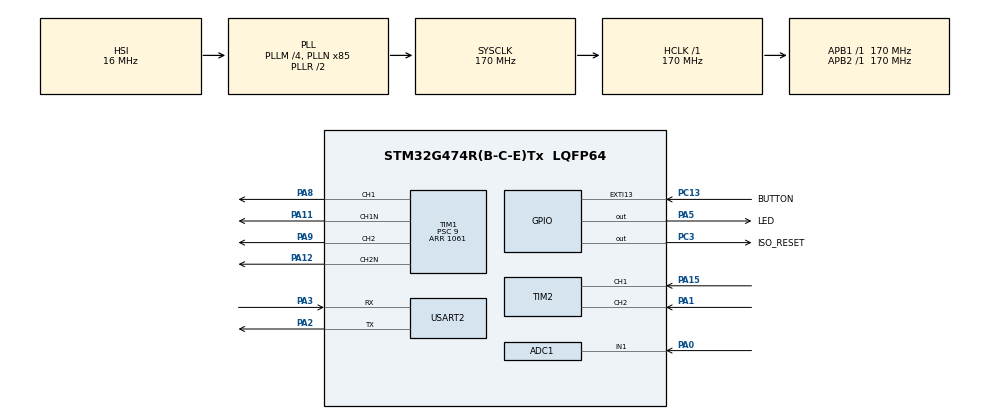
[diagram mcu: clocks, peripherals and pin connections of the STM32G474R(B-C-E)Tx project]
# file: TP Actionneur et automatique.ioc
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ADC1.Channel-0\#ChannelRegularConversion=ADC_CHANNEL_1
ADC1.NbrOfConversionFlag=1
ADC1.OffsetNumber-0\#ChannelRegularConversion=ADC_OFFSET_NONE
ADC1.OversamplingMode=DISABLE
ADC1.Rank-0\#ChannelRegularConversion=1
ADC1.SamplingTime-0\#ChannelRegularConversion=ADC_SAMPLETIME_12CYCLES_5
ADC1.master=1
Mcu.Family=STM32G4
Mcu.Name=STM32G474R(B-C-E)Tx
Mcu.Package=LQFP64
NVIC.ADC1_2_IRQn=true\:0\:0\:false\:false\:true\:true\:true\:true
NVIC.EXTI15_10_IRQn=true\:0\:0\:false\:false\:true\:true\:true\:true
NVIC.PriorityGroup=NVIC_PRIORITYGROUP_4
NVIC.TIM1_UP_TIM16_IRQn=true\:0\:0\:false\:false\:true\:true\:true\:true
NVIC.TIM6_DAC_IRQn=true\:0\:0\:false\:false\:true\:true\:true\:true
NVIC.TIM7_DAC_IRQn=true\:0\:0\:false\:false\:true\:true\:true\:true
NVIC.TIM8_UP_IRQn=true\:0\:0\:false\:false\:true\:true\:true\:true
NVIC.USART2_IRQn=true\:0\:0\:false\:false\:true\:true\:true\:true
PA0.Mode=IN1-Single-Ended
PA0.Signal=ADC1_IN1
PA1.Signal=S_TIM2_CH2
PA11.Mode=PWM Generation1 CH1 CH1N
PA11.Signal=TIM1_CH1N
PA12.Mode=PWM Generation2 CH2 CH2N
PA12.Signal=TIM1_CH2N
PA13.GPIO_Label=T_SWDIO
PA13.Mode=Serial_Wire
PA13.Signal=SYS_JTMS-SWDIO
PA14.GPIO_Label=T_SWCLK
PA14.Mode=Serial_Wire
PA14.Signal=SYS_JTCK-SWCLK
PA15.Signal=S_TIM2_CH1
PA2.Mode=Asynchronous
PA2.Signal=USART2_TX
PA3.Mode=Asynchronous
PA3.Signal=USART2_RX
PA5.GPIO_Label=LED
PA5.Signal=GPIO_Output
PA8.Signal=S_TIM1_CH1
PA9.Signal=S_TIM1_CH2
PB3.GPIO_Label=T_SWO
PB3.Signal=SYS_JTDO-SWO
PC13.GPIO_Label=BUTTON
PC13.Signal=GPXTI13
PC14-OSC32_IN.Mode=LSE-External-Oscillator
PC14-OSC32_IN.Signal=RCC_OSC32_IN
PC15-OSC32_OUT.Mode=LSE-External-Oscillator
PC15-OSC32_OUT.Signal=RCC_OSC32_OUT
PC3.GPIO_Label=ISO_RESET
PC3.Signal=GPIO_Output
PF0-OSC_IN.Mode=HSE-External-Oscillator
PF0-OSC_IN.Signal=RCC_OSC_IN
PF1-OSC_OUT.Mode=HSE-External-Oscillator
PF1-OSC_OUT.Signal=RCC_OSC_OUT
ProjectManager.HeapSize=0x200
ProjectManager.StackSize=0x400
ProjectManager.TargetToolchain=STM32CubeIDE
RCC.ADC12Freq_Value=170000000
RCC.ADC345Freq_Value=170000000
RCC.AHBFreq_Value=170000000
RCC.APB1Freq_Value=170000000
RCC.APB1TimFreq_Value=170000000
RCC.APB2Freq_Value=170000000
RCC.APB2TimFreq_Value=170000000
RCC.CortexFreq_Value=170000000
RCC.EXTERNAL_CLOCK_VALUE=12288000
RCC.HCLKFreq_Value=170000000
RCC.HSE_VALUE=24000000
RCC.HSI48_VALUE=48000000
RCC.HSI_VALUE=16000000
RCC.PLLM=RCC_PLLM_DIV4
RCC.PLLN=85
RCC.RTCClockSelection=RCC_RTCCLKSOURCE_LSE
RCC.SYSCLKFreq_VALUE=170000000
RCC.SYSCLKSource=RCC_SYSCLKSOURCE_PLLCLK
RCC.USBFreq_Value=170000000
RCC.VCOOutputFreq_Value=340000000
SH.S_TIM1_CH1.0=TIM1_CH1,PWM Generation1 CH1 CH1N
SH.S_TIM1_CH2.0=TIM1_CH2,PWM Generation2 CH2 CH2N
SH.S_TIM2_CH1.0=TIM2_CH1,Encoder_Interface
SH.S_TIM2_CH2.0=TIM2_CH2,Encoder_Interface
TIM1.AutoReloadPreload=TIM_AUTORELOAD_PRELOAD_ENABLE
TIM1.Channel-PWM\ Generation1\ CH1\ CH1N=TIM_CHANNEL_1
TIM1.Channel-PWM\ Generation2\ CH2\ CH2N=TIM_CHANNEL_2
TIM1.CounterMode=TIM_COUNTERMODE_CENTERALIGNED1
TIM1.DeadTime=203
TIM1.OCIdleState_2=TIM_OCIDLESTATE_SET
TIM1.OCMode_PWM-PWM\ Generation1\ CH1\ CH1N=TIM_OCMODE_PWM1
TIM1.OCMode_PWM-PWM\ Generation2\ CH2\ CH2N=TIM_OCMODE_PWM1
TIM1.OCNIdleState_1=TIM_OCNIDLESTATE_SET
TIM1.OCNIdleState_2=TIM_OCNIDLESTATE_RESET
TIM1.OCNPolarity_2=TIM_OCNPOLARITY_HIGH
TIM1.OCPolarity_2=TIM_OCPOLARITY_HIGH
TIM1.PeriodNoDither=1061
TIM1.Prescaler=9
TIM1.PulseNoDither_1=637
TIM1.PulseNoDither_2=637
TIM2.AutoReloadPreload=TIM_AUTORELOAD_PRELOAD_ENABLE
TIM6.PeriodNoDither=1000-1
TIM6.Prescaler=1700-1
TIM7.AutoReloadPreload=TIM_AUTORELOAD_PRELOAD_ENABLE
TIM7.PeriodNoDither=24
TIM7.Prescaler=16
TIM8.PeriodNoDither=10000-1
TIM8.Prescaler=1700-1
USART2.VirtualMode-Asynchronous=VM_ASYNC
VP_SYS_VS_DBSignals.Mode=DisableDeadBatterySignals
VP_TIM1_VS_ClockSourceINT.Mode=Internal
VP_TIM6_VS_ClockSourceINT.Mode=Enable_Timer
VP_TIM7_VS_ClockSourceINT.Mode=Enable_Timer
VP_TIM8_VS_ClockSourceINT.Mode=Internal
board=NUCLEO-G474RE

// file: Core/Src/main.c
/* USER CODE BEGIN Header */
/**
 ******************************************************************************
 * @file           : main.c
 * @brief          : Main program body
 * @authors	Adam Cheikh Brahim, Karim Abdellaziz and Sami Asfary
 ******************************************************************************
 * @attention
 *
 * Copyright (c) 2022 STMicroelectronics.
 * All rights reserved.
 *
 * This software is licensed under terms that can be found in the LICENSE file
 * in the root directory of this software component.
 * If no LICENSE file comes with this software, it is provided AS-IS.
 *
 ******************************************************************************
 */
/* USER CODE END Header */
#include "main.h"
#include "adc.h"
#include "tim.h"
#include "usart.h"
#include "gpio.h"

/* USER CODE BEGIN Includes */
#include "shell.h"
#include "pwm.h"
#include <string.h>
/* USER CODE END Includes */

/* USER CODE BEGIN PV */
extern TIM_HandleTypeDef htim1;
extern ADC_HandleTypeDef hadc1;
uint8_t newline[]="\r\n";

uint32_t uartRxReceived;
uint8_t uartRxBuffer[UART_RX_BUFFER_SIZE];
uint8_t uartTxBuffer[UART_TX_BUFFER_SIZE];
uint8_t alpha_now=60;
uint8_t alpha_dest=60;
float vitesse_encod=0;
float current_v=0.0;
uint32_t adc_value=0;
float offset_current=2.5268;
/* USER CODE END PV */

void SystemClock_Config(void);

int main(void)
{
  /* USER CODE BEGIN 1 */
	char	 	cmdBuffer[CMD_BUFFER_SIZE];
	int 		idx_cmd;
	int 		newCmdReady = 0;
  /* USER CODE END 1 */

  /* MCU Configuration--------------------------------------------------------*/

  /* Reset of all peripherals, Initializes the Flash interface and the Systick. */
  HAL_Init();

  /* Configure the system clock */
  SystemClock_Config();

  /* Initialize all configured peripherals */
  MX_GPIO_Init();
  MX_TIM1_Init();
  MX_USART2_UART_Init();
  MX_TIM7_Init();
  MX_TIM6_Init();
  MX_ADC1_Init();
  MX_TIM2_Init();
  MX_TIM8_Init();
  /* USER CODE BEGIN 2 */
	memset(cmdBuffer,NULL,CMD_BUFFER_SIZE*sizeof(char));
	memset(uartRxBuffer,NULL,UART_RX_BUFFER_SIZE*sizeof(char));
	memset(uartTxBuffer,NULL,UART_TX_BUFFER_SIZE*sizeof(char));
	//start_command(alpha);
	HAL_ADCEx_Calibration_Start(&hadc1, ADC_SINGLE_ENDED);
	int cpt=0;
	for (cpt=0;cpt<10;cpt++)
	{
		HAL_ADC_Start(&hadc1);
		HAL_ADC_PollForConversion(&hadc1, HAL_MAX_DELAY);
		adc_value+=HAL_ADC_GetValue(&hadc1);
	}
	HAL_ADC_Stop(&hadc1);
	adc_value=adc_value/10;
	offset_current=(((adc_value)/4096.0)*3.3);
	adc_value=0;
	char offset_msg[50];
	//sprintf(offset_msg,"Offset= %fV\r\n",offset_current);
	//HAL_UART_Transmit(&huart2, offset_msg, sizeof(offset_msg), HAL_MAX_DELAY);

	HAL_UART_Receive_IT(&huart2, uartRxBuffer, UART_RX_BUFFER_SIZE);
	HAL_Delay(10);
	start_display();
	prompt_display();

  /* USER CODE END 2 */

  /* Infinite loop */
  /* USER CODE BEGIN WHILE */
	while (1)
	{
		// uartRxReceived is set to 1 when a new character is received on uart 1
		if(uartRxReceived){
			switch(uartRxBuffer[0]){
			// Nouvelle ligne, instruction à traiter
			case ASCII_CR:
				HAL_UART_Transmit(&huart2, newline, sizeof(newline), HAL_MAX_DELAY);
				cmdBuffer[idx_cmd] = '\0';

				idx_cmd = 0;
				newCmdReady = 1;
				break;
				// Suppression du dernier caractère
			case ASCII_DEL:
				cmdBuffer[idx_cmd--] = 0;
				//idx_cmd--;
				HAL_UART_Transmit(&huart2, uartRxBuffer, UART_RX_BUFFER_SIZE, HAL_MAX_DELAY);
				break;
				// Nouveau caractère
			default:
				cmdBuffer[idx_cmd++] = uartRxBuffer[0];
				HAL_UART_Transmit(&huart2, uartRxBuffer, UART_RX_BUFFER_SIZE, HAL_MAX_DELAY);
			}
			uartRxReceived = 0;
		}

		shell(&newCmdReady,cmdBuffer);

    /* USER CODE END WHILE */

	}
}

void SystemClock_Config(void)
{
  RCC_OscInitTypeDef RCC_OscInitStruct = {0};
  RCC_ClkInitTypeDef RCC_ClkInitStruct = {0};

  /** Configure the main internal regulator output voltage
  */
  HAL_PWREx_ControlVoltageScaling(PWR_REGULATOR_VOLTAGE_SCALE1_BOOST);
  /** Initializes the RCC Oscillators according to the specified parameters
  * in the RCC_OscInitTypeDef structure.
  */
  RCC_OscInitStruct.OscillatorType = RCC_OSCILLATORTYPE_HSI;
  RCC_OscInitStruct.HSIState = RCC_HSI_ON;
  RCC_OscInitStruct.HSICalibrationValue = RCC_HSICALIBRATION_DEFAULT;
  RCC_OscInitStruct.PLL.PLLState = RCC_PLL_ON;
  RCC_OscInitStruct.PLL.PLLSource = RCC_PLLSOURCE_HSI;
  RCC_OscInitStruct.PLL.PLLM = RCC_PLLM_DIV4;
  RCC_OscInitStruct.PLL.PLLN = 85;
  RCC_OscInitStruct.PLL.PLLP = RCC_PLLP_DIV2;
  RCC_OscInitStruct.PLL.PLLQ = RCC_PLLQ_DIV2;
  RCC_OscInitStruct.PLL.PLLR = RCC_PLLR_DIV2;
  if (HAL_RCC_OscConfig(&RCC_OscInitStruct) != HAL_OK)
  {
    Error_Handler();
  }
  /** Initializes the CPU, AHB and APB buses clocks
  */
  RCC_ClkInitStruct.ClockType = RCC_CLOCKTYPE_HCLK|RCC_CLOCKTYPE_SYSCLK
                              |RCC_CLOCKTYPE_PCLK1|RCC_CLOCKTYPE_PCLK2;
  RCC_ClkInitStruct.SYSCLKSource = RCC_SYSCLKSOURCE_PLLCLK;
  RCC_ClkInitStruct.AHBCLKDivider = RCC_SYSCLK_DIV1;
  RCC_ClkInitStruct.APB1CLKDivider = RCC_HCLK_DIV1;
  RCC_ClkInitStruct.APB2CLKDivider = RCC_HCLK_DIV1;

  if (HAL_RCC_ClockConfig(&RCC_ClkInitStruct, FLASH_LATENCY_4) != HAL_OK)
  {
    Error_Handler();
  }
}

/* USER CODE BEGIN 4 */
void HAL_UART_RxCpltCallback (UART_HandleTypeDef * huart){
	uartRxReceived = 1;
	HAL_UART_Receive_IT(&huart2, uartRxBuffer, UART_RX_BUFFER_SIZE);
}
/* USER CODE END 4 */

void Error_Handler(void)
{
	__disable_irq();
	while (1)
	{
	}
}
